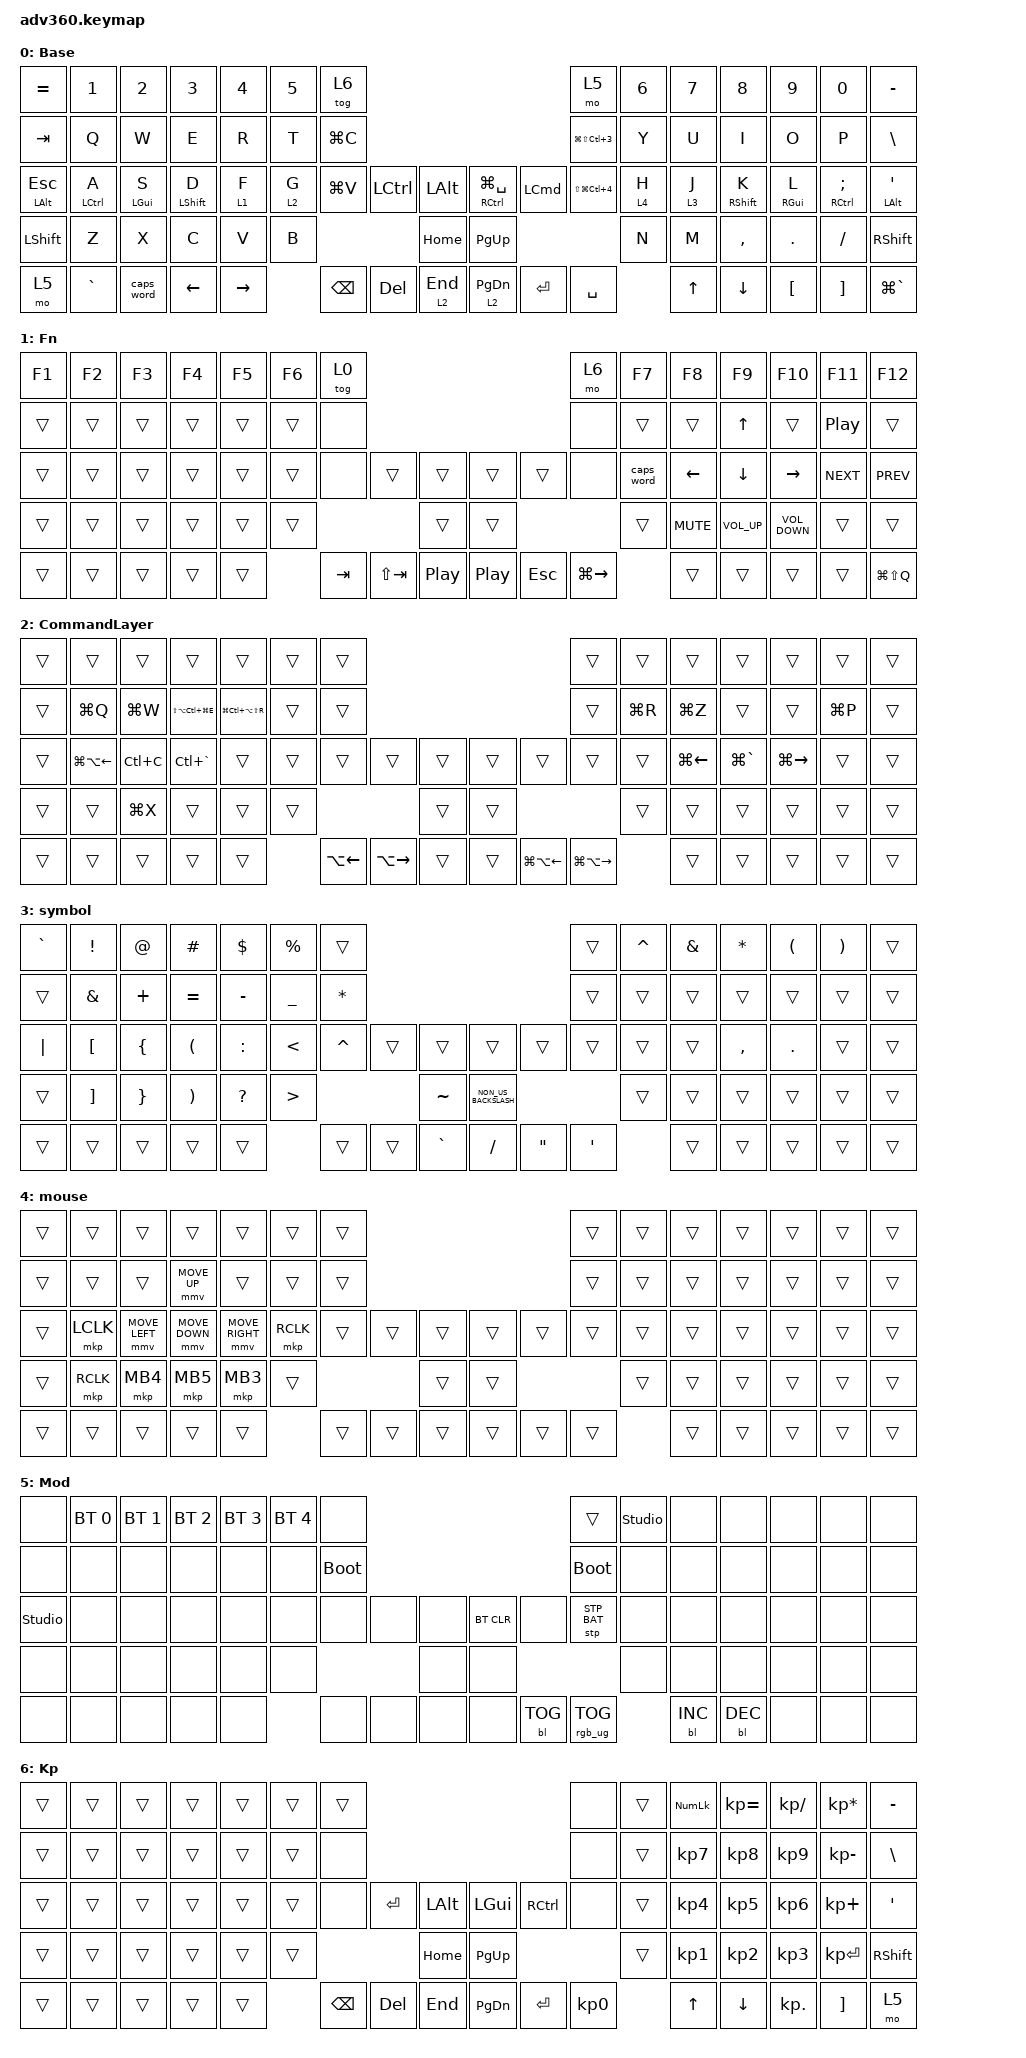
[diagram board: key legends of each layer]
#include <dt-bindings/zmk/stp.h>
#include <behaviors.dtsi>
#include <dt-bindings/zmk/backlight.h>
#include <dt-bindings/zmk/bt.h>
#include <dt-bindings/zmk/keys.h>
#include <dt-bindings/zmk/pointing.h>
#include <dt-bindings/zmk/rgb.h>

/ {
    behaviors {
        #include "macros.dtsi"
      #include "version.dtsi"

        hm: homerow_mods {
            compatible = "zmk,behavior-hold-tap";
            label = "HOMEROW_MODS";
            #binding-cells = <2>;
            tapping-term-ms = <250>;
            quick_tap_ms = <200>;
            flavor = "tap-preferred";
            bindings = <&kp>, <&kp>;

            quick-tap-ms = <185>;
        };
    };

    combos {
        compatible = "zmk,combos";

        esc {
            bindings = <&kp ESCAPE>;
            key-positions = <32 41>;
            layers = <0>;
        };

        caps_word {
            bindings = <&caps_word>;
            key-positions = <32 42>;
        };
    };

    keymap {
        compatible = "zmk,keymap";

        default_layer {
            display-name = "Base";
            bindings = <
&kp EQUAL        &kp N1       &kp N2      &kp N3        &kp N4     &kp N5   &tog 6                                                                &mo 5                     &kp N6   &kp N7   &kp N8             &kp N9      &kp N0          &kp MINUS
&kp TAB          &kp Q        &kp W       &kp E         &kp R      &kp T    &kp LG(C)                                                             &kp LG(LS(LC(NUMBER_3)))  &kp Y    &kp U    &kp I              &kp O       &kp P           &kp BSLH
&hm LALT ESCAPE  &hm LCTRL A  &hm LGUI S  &hm LSHIFT D  &lt 1 F    &lt 2 G  &kp LG(V)  &kp LCTRL   &kp LALT       &mt RCTRL LG(SPACE)  &kp LCMD   &kp LS(LG(LC(NUMBER_4)))  &lt 4 H  &lt 3 J  &hm RIGHT_SHIFT K  &hm RGUI L  &hm RCTRL SEMI  &hm LALT SQT
&kp LSHFT        &kp Z        &kp X       &kp C         &kp V      &kp B                           &kp HOME       &kp PG_UP                                                 &kp N    &kp M    &kp COMMA          &kp DOT     &kp FSLH        &kp RSHFT
&mo 5            &kp GRAVE    &caps_word  &kp LEFT      &kp RIGHT           &kp BSPC   &kp DELETE  &lt 2 END      &lt 2 PAGE_DOWN      &kp ENTER  &kp SPACE                          &kp UP   &kp DOWN           &kp LBKT    &kp RBKT        &kp LG(GRAVE)
            >;
        };

        fn {
            display-name = "Fn";
            bindings = <
&kp F1  &kp F2  &kp F3  &kp F4  &kp F5  &kp F6  &tog 0                                                                    &mo 6                &kp F7      &kp F8      &kp F9           &kp F10            &kp F11           &kp F12
&trans  &trans  &trans  &trans  &trans  &trans  &none                                                                     &none                &trans      &trans      &kp UP_ARROW     &trans             &kp C_PLAY_PAUSE  &trans
&trans  &trans  &trans  &trans  &trans  &trans  &none    &trans       &trans                &trans            &trans      &none                &caps_word  &kp LEFT    &kp DOWN_ARROW   &kp RIGHT_ARROW    &kp K_NEXT        &kp K_PREV
&trans  &trans  &trans  &trans  &trans  &trans                        &trans                &trans                                             &trans      &kp K_MUTE  &kp C_VOLUME_UP  &kp C_VOLUME_DOWN  &trans            &trans
&trans  &trans  &trans  &trans  &trans          &kp TAB  &kp LS(TAB)  &kp C_PLAY_PAUSE      &kp C_PLAY_PAUSE  &kp ESCAPE  &kp LG(RIGHT_ARROW)              &trans      &trans           &trans             &trans            &kp LG(LS(Q))
            >;
        };

        CommandLayer {
            bindings = <
&trans  &trans            &trans     &trans                 &trans                 &trans  &trans                                                                               &trans                   &trans     &trans              &trans         &trans               &trans     &trans
&trans  &kp LG(Q)         &kp LG(W)  &kp LS(LA(LC(LG(E))))  &kp LG(LC(LA(LS(R))))  &trans  &trans                                                                               &trans                   &kp LG(R)  &kp LG(Z)           &trans         &trans               &kp LG(P)  &trans
&trans  &kp LG(LA(LEFT))  &kp LC(C)  &kp LC(GRAVE)          &trans                 &trans  &trans              &trans               &trans      &trans  &trans                  &trans                   &trans     &kp LG(LEFT_ARROW)  &kp LG(GRAVE)  &kp LG(RIGHT_ARROW)  &trans     &trans
&trans  &trans            &kp LG(X)  &trans                 &trans                 &trans                                           &trans      &trans                                                   &trans     &trans              &trans         &trans               &trans     &trans
&trans  &trans            &trans     &trans                 &trans                         &kp LA(LEFT_ARROW)  &kp LA(RIGHT_ARROW)  &trans      &trans  &kp LG(LA(LEFT_ARROW))  &kp LG(LA(RIGHT_ARROW))             &trans              &trans         &trans               &trans     &trans
            >;
        };

        symbol {
            bindings = <
&kp GRAVE  &kp EXCLAMATION    &kp AT_SIGN      &kp HASH               &kp DOLLAR    &kp PERCENT       &trans                                                                        &trans   &kp CARET  &kp AMPERSAND  &kp ASTERISK  &kp LEFT_PARENTHESIS  &kp RIGHT_PARENTHESIS  &trans
&trans     &kp AMPERSAND      &kp PLUS         &kp EQUAL              &kp MINUS     &kp UNDERSCORE    &kp ASTERISK                                                                  &trans   &trans     &trans         &trans        &trans                &trans                 &trans
&kp PIPE   &kp LEFT_BRACKET   &kp LEFT_BRACE   &kp LEFT_PARENTHESIS   &kp COLON     &kp LESS_THAN     &kp CARET     &trans  &trans         &trans                &trans             &trans   &trans     &trans         &kp COMMA     &kp PERIOD            &trans                 &trans
&trans     &kp RIGHT_BRACKET  &kp RIGHT_BRACE  &kp RIGHT_PARENTHESIS  &kp QUESTION  &kp GREATER_THAN                        &kp TILDE      &kp NON_US_BACKSLASH                              &trans     &trans         &trans        &trans                &trans                 &trans
&trans     &trans             &trans           &trans                 &trans                          &trans        &trans  &kp GRAVE      &kp SLASH             &kp DOUBLE_QUOTES  &kp SQT             &trans         &trans        &trans                &trans                 &trans
            >;
        };

        mouse {
            bindings = <
&trans  &trans     &trans          &trans          &trans           &trans     &trans                                      &trans  &trans  &trans  &trans  &trans  &trans  &trans
&trans  &trans     &trans          &mmv MOVE_UP    &trans           &trans     &trans                                      &trans  &trans  &trans  &trans  &trans  &trans  &trans
&trans  &mkp LCLK  &mmv MOVE_LEFT  &mmv MOVE_DOWN  &mmv MOVE_RIGHT  &mkp RCLK  &trans  &trans  &trans      &trans  &trans  &trans  &trans  &trans  &trans  &trans  &trans  &trans
&trans  &mkp RCLK  &mkp MB4        &mkp MB5        &mkp MB3         &trans                     &trans      &trans                  &trans  &trans  &trans  &trans  &trans  &trans
&trans  &trans     &trans          &trans          &trans                      &trans  &trans  &trans      &trans  &trans  &trans          &trans  &trans  &trans  &trans  &trans
            >;
        };

        mod {
            display-name = "Mod";
            bindings = <
&none           &bt BT_SEL 0  &bt BT_SEL 1  &bt BT_SEL 2  &bt BT_SEL 3  &bt BT_SEL 4  &none                                                  &trans           &studio_unlock  &none       &none       &none  &none  &none
&none           &none         &none         &none         &none         &none         &bootloader                                            &bootloader      &none           &none       &none       &none  &none  &none
&studio_unlock  &none         &none         &none         &none         &none         &none        &none  &none      &bt BT_CLR  &none       &stp STP_BAT     &none           &none       &none       &none  &none  &none
&none           &none         &none         &none         &none         &none                             &none      &none                                    &none           &none       &none       &none  &none  &none
&none           &none         &none         &none         &none                       &none        &none  &none      &none       &bl BL_TOG  &rgb_ug RGB_TOG                  &bl BL_INC  &bl BL_DEC  &none  &none  &none
            >;
        };

        keypad {
            display-name = "Kp";
            bindings = <
&trans  &trans  &trans  &trans  &trans  &trans  &trans                                                   &none      &trans  &kp KP_NUM  &kp KP_EQUAL  &kp KP_DIVIDE  &kp KP_MULTIPLY  &kp MINUS
&trans  &trans  &trans  &trans  &trans  &trans  &none                                                    &none      &trans  &kp KP_N7   &kp KP_N8     &kp KP_N9      &kp KP_MINUS     &kp BSLH
&trans  &trans  &trans  &trans  &trans  &trans  &none     &kp ENTER  &kp LALT      &kp LGUI   &kp RCTRL  &none      &trans  &kp KP_N4   &kp KP_N5     &kp KP_N6      &kp KP_PLUS      &kp SQT
&trans  &trans  &trans  &trans  &trans  &trans                       &kp HOME      &kp PG_UP                        &trans  &kp KP_N1   &kp KP_N2     &kp KP_N3      &kp KP_ENTER     &kp RSHFT
&trans  &trans  &trans  &trans  &trans          &kp BSPC  &kp DEL    &kp END       &kp PG_DN  &kp ENTER  &kp KP_N0          &kp UP      &kp DOWN      &kp KP_DOT     &kp RBKT         &mo 5
            >;
        };
    };
};
